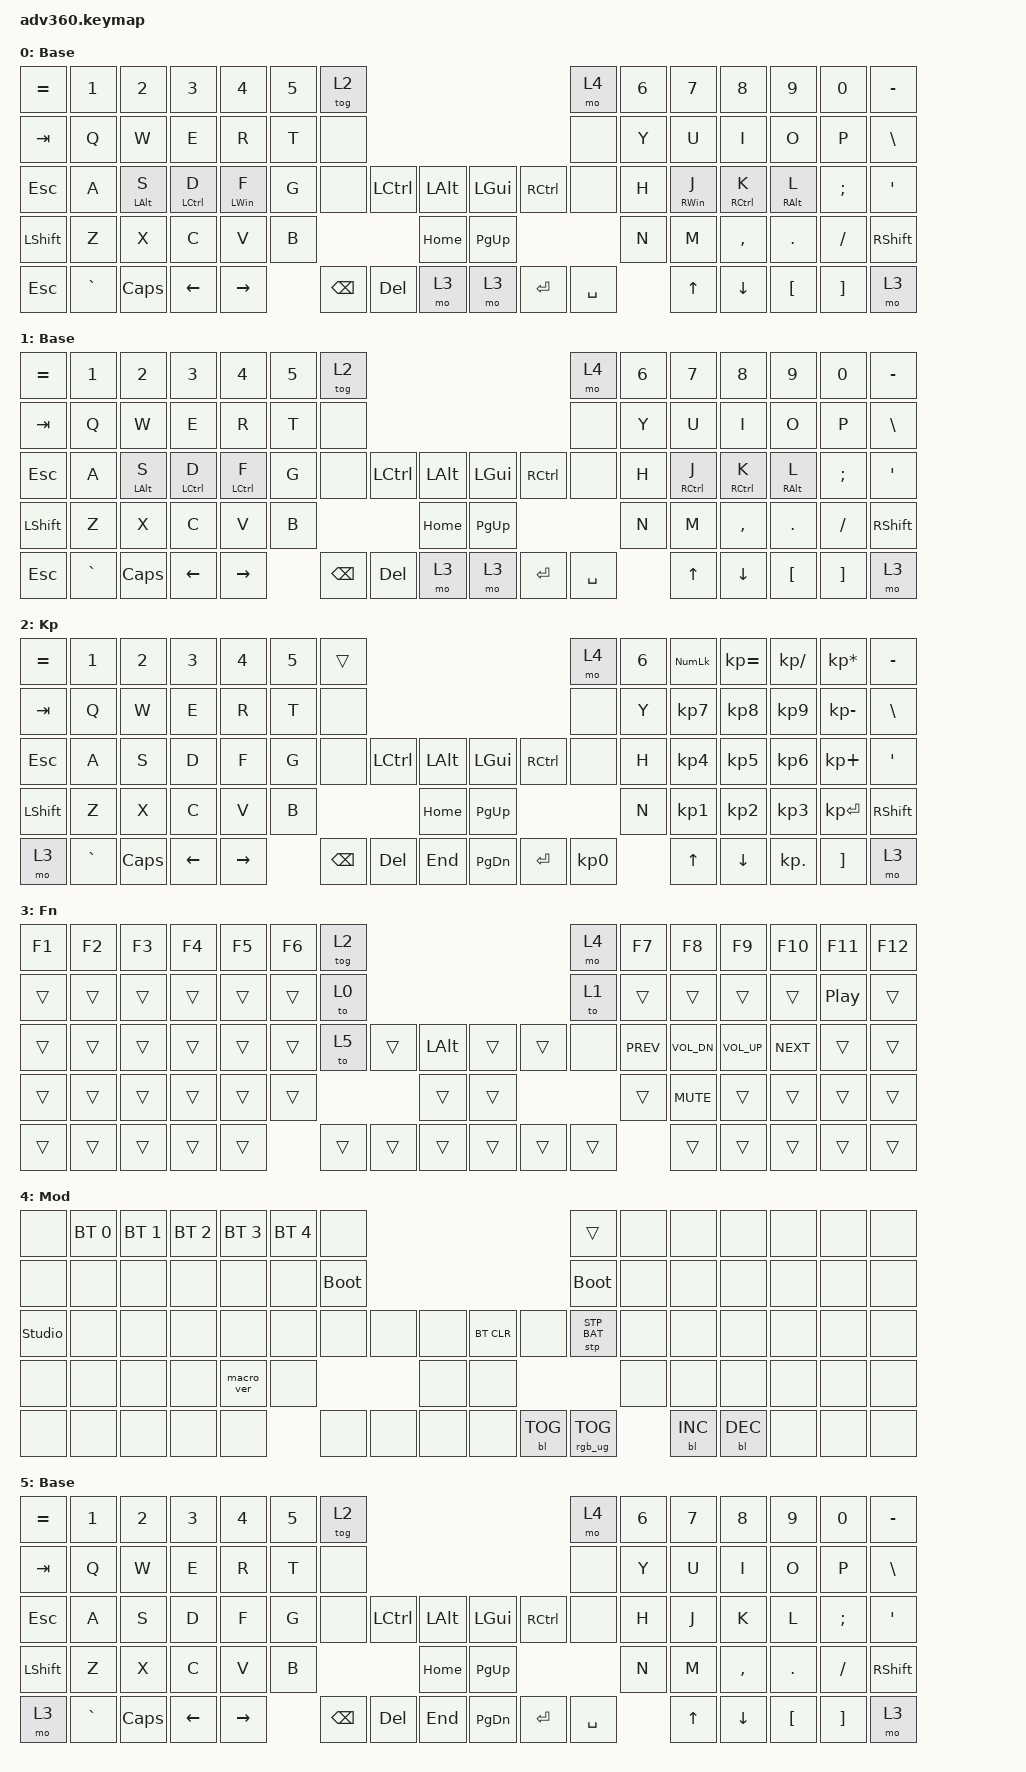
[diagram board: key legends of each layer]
#include <dt-bindings/zmk/stp.h>
#include <behaviors.dtsi>
#include <dt-bindings/zmk/backlight.h>
#include <dt-bindings/zmk/bt.h>
#include <dt-bindings/zmk/keys.h>
#include <dt-bindings/zmk/rgb.h>

/ {
    behaviors {
        #include "macros.dtsi"
      #include "version.dtsi"

        hm: homerow_mods {
            compatible = "zmk,behavior-hold-tap";
            label = "HOMEROW_MODS";
            #binding-cells = <2>;
            tapping-term-ms = <200>;
            flavor = "tap-preferred";
            bindings = <&kp>, <&kp>;

            quick-tap-ms = <175>;
        };
    };

    keymap {
        compatible = "zmk,keymap";

        Default_Mac {
            display-name = "Base";
            bindings = <
&kp EQUAL       &kp N1     &kp N2          &kp N3       &kp N4          &kp N5  &tog 2                                                   &mo 4      &kp N6  &kp N7           &kp N8               &kp N9           &kp N0         &kp MINUS
&kp TAB         &kp Q      &kp W           &kp E        &kp R           &kp T   &none                                                    &none      &kp Y   &kp U            &kp I                &kp O            &kp P          &kp BSLH
&kp ESCAPE      &kp A      &hm LEFT_ALT S  &hm LCTRL D  &hm LEFT_WIN F  &kp G   &none     &kp LCTRL  &kp LALT      &kp LGUI   &kp RCTRL  &none      &kp H   &hm RIGHT_WIN J  &hm RIGHT_CONTROL K  &hm RIGHT_ALT L  &kp SEMICOLON  &kp SQT
&kp LEFT_SHIFT  &kp Z      &kp X           &kp C        &kp V           &kp B                        &kp HOME      &kp PG_UP                        &kp N   &kp M            &kp COMMA            &kp DOT          &kp FSLH       &kp RIGHT_SHIFT
&kp ESCAPE      &kp GRAVE  &kp CAPS        &kp LEFT     &kp RIGHT               &kp BSPC  &kp DEL    &mo 3         &mo 3      &kp ENTER  &kp SPACE          &kp UP           &kp DOWN             &kp LBKT         &kp RBKT       &mo 3
            >;
        };

        Default_Windows {
            display-name = "Base";
            bindings = <
&kp EQUAL       &kp N1     &kp N2          &kp N3       &kp N4              &kp N5  &tog 2                                                   &mo 4      &kp N6  &kp N7               &kp N8               &kp N9           &kp N0         &kp MINUS
&kp TAB         &kp Q      &kp W           &kp E        &kp R               &kp T   &none                                                    &none      &kp Y   &kp U                &kp I                &kp O            &kp P          &kp BSLH
&kp ESCAPE      &kp A      &hm LEFT_ALT S  &hm LCTRL D  &hm LEFT_CONTROL F  &kp G   &none     &kp LCTRL  &kp LALT      &kp LGUI   &kp RCTRL  &none      &kp H   &hm RIGHT_CONTROL J  &hm RIGHT_CONTROL K  &hm RIGHT_ALT L  &kp SEMICOLON  &kp SQT
&kp LEFT_SHIFT  &kp Z      &kp X           &kp C        &kp V               &kp B                        &kp HOME      &kp PG_UP                        &kp N   &kp M                &kp COMMA            &kp DOT          &kp FSLH       &kp RIGHT_SHIFT
&kp ESCAPE      &kp GRAVE  &kp CAPS        &kp LEFT     &kp RIGHT                   &kp BSPC  &kp DEL    &mo 3         &mo 3      &kp ENTER  &kp SPACE          &kp UP               &kp DOWN             &kp LBKT         &kp RBKT       &mo 3
            >;
        };

        keypad {
            display-name = "Kp";
            bindings = <
&kp EQUAL  &kp N1     &kp N2    &kp N3    &kp N4     &kp N5  &trans                                                   &mo 4      &kp N6  &kp KP_NUM  &kp KP_EQUAL  &kp KP_DIVIDE  &kp KP_MULTIPLY  &kp MINUS
&kp TAB    &kp Q      &kp W     &kp E     &kp R      &kp T   &none                                                    &none      &kp Y   &kp KP_N7   &kp KP_N8     &kp KP_N9      &kp KP_MINUS     &kp BSLH
&kp ESC    &kp A      &kp S     &kp D     &kp F      &kp G   &none     &kp LCTRL  &kp LALT      &kp LGUI   &kp RCTRL  &none      &kp H   &kp KP_N4   &kp KP_N5     &kp KP_N6      &kp KP_PLUS      &kp SQT
&kp LSHFT  &kp Z      &kp X     &kp C     &kp V      &kp B                        &kp HOME      &kp PG_UP                        &kp N   &kp KP_N1   &kp KP_N2     &kp KP_N3      &kp KP_ENTER     &kp RSHFT
&mo 3      &kp GRAVE  &kp CAPS  &kp LEFT  &kp RIGHT          &kp BSPC  &kp DEL    &kp END       &kp PG_DN  &kp ENTER  &kp KP_N0          &kp UP      &kp DOWN      &kp KP_DOT     &kp RBKT         &mo 3
            >;
        };

        fn {
            display-name = "Fn";
            bindings = <
&kp F1  &kp F2  &kp F3  &kp F4  &kp F5  &kp F6  &tog 2                                            &mo 4   &kp F7      &kp F8        &kp F9        &kp F10     &kp F11           &kp F12
&trans  &trans  &trans  &trans  &trans  &trans  &to 0                                             &to 1   &trans      &trans        &trans        &trans      &kp C_PLAY_PAUSE  &trans
&trans  &trans  &trans  &trans  &trans  &trans  &to 5   &trans  &kp LEFT_ALT      &trans  &trans  &none   &kp C_PREV  &kp C_VOL_DN  &kp C_VOL_UP  &kp C_NEXT  &trans            &trans
&trans  &trans  &trans  &trans  &trans  &trans                  &trans            &trans                  &trans      &kp C_MUTE    &trans        &trans      &trans            &trans
&trans  &trans  &trans  &trans  &trans          &trans  &trans  &trans            &trans  &trans  &trans              &trans        &trans        &trans      &trans            &trans
            >;
        };

        mod {
            display-name = "Mod";
            bindings = <
&none           &bt BT_SEL 0  &bt BT_SEL 1  &bt BT_SEL 2  &bt BT_SEL 3  &bt BT_SEL 4  &none                                                  &trans           &none  &none       &none       &none  &none  &none
&none           &none         &none         &none         &none         &none         &bootloader                                            &bootloader      &none  &none       &none       &none  &none  &none
&studio_unlock  &none         &none         &none         &none         &none         &none        &none  &none      &bt BT_CLR  &none       &stp STP_BAT     &none  &none       &none       &none  &none  &none
&none           &none         &none         &none         &macro_ver    &none                             &none      &none                                    &none  &none       &none       &none  &none  &none
&none           &none         &none         &none         &none                       &none        &none  &none      &none       &bl BL_TOG  &rgb_ug RGB_TOG         &bl BL_INC  &bl BL_DEC  &none  &none  &none
            >;
        };

        Standard {
            display-name = "Base";
            bindings = <
&kp EQUAL   &kp N1     &kp N2    &kp N3    &kp N4     &kp N5  &tog 2                                                       &mo 4      &kp N6  &kp N7  &kp N8     &kp N9    &kp N0    &kp MINUS
&kp TAB     &kp Q      &kp W     &kp E     &kp R      &kp T   &none                                                        &none      &kp Y   &kp U   &kp I      &kp O     &kp P     &kp BSLH
&kp ESCAPE  &kp A      &kp S     &kp D     &kp F      &kp G   &none     &kp LCTRL  &kp LALT      &kp LGUI       &kp RCTRL  &none      &kp H   &kp J   &kp K      &kp L     &kp SEMI  &kp SQT
&kp LSHFT   &kp Z      &kp X     &kp C     &kp V      &kp B                        &kp HOME      &kp PG_UP                            &kp N   &kp M   &kp COMMA  &kp DOT   &kp FSLH  &kp RIGHT_SHIFT
&mo 3       &kp GRAVE  &kp CAPS  &kp LEFT  &kp RIGHT          &kp BSPC  &kp DEL    &kp END       &kp PAGE_DOWN  &kp ENTER  &kp SPACE          &kp UP  &kp DOWN   &kp LBKT  &kp RBKT  &mo 3
            >;
        };

        extra1 {
            display-name = "Red";
            status = "reserved";
        };

        extra2 {
            display-name = "Purple";
            status = "reserved";
        };

        extra3 {
            display-name = "Cyan";
            status = "reserved";
        };

        extra4 {
            display-name = "Yellow";
            status = "reserved";
        };
    };
};
